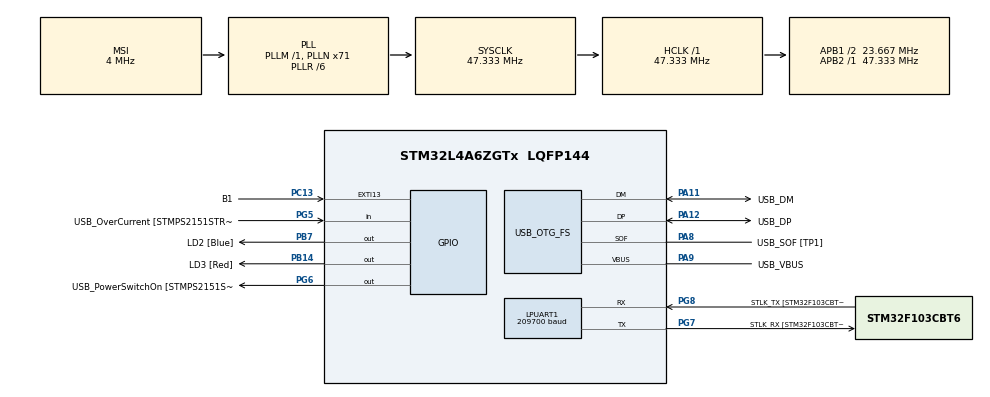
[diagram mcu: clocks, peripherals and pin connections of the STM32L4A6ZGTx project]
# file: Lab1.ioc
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FREERTOS.Tasks01=mytask,24,128,Blink_LED,Default,NULL,Dynamic,NULL,NULL
FREERTOS.configUSE_NEWLIB_REENTRANT=1
FREERTOS.configUSE_STATS_FORMATTING_FUNCTIONS=0
LPUART1.AutoBaudRateEnableParam=UART_ADVFEATURE_AUTOBAUDRATE_DISABLE
LPUART1.BaudRate=209700
LPUART1.DMADisableonRxErrorParam=UART_ADVFEATURE_DMA_ENABLEONRXERROR
LPUART1.DataInvertParam=UART_ADVFEATURE_DATAINV_DISABLE
LPUART1.MSBFirstParam=UART_ADVFEATURE_MSBFIRST_DISABLE
LPUART1.Mode=UART_MODE_TX_RX
LPUART1.OneBitSampling=UART_ONE_BIT_SAMPLE_DISABLE
LPUART1.OverrunDisableParam=UART_ADVFEATURE_OVERRUN_ENABLE
LPUART1.Parity=UART_PARITY_NONE
LPUART1.RxPinLevelInvertParam=UART_ADVFEATURE_RXINV_DISABLE
LPUART1.StopBits=UART_STOPBITS_1
LPUART1.SwapParam=UART_ADVFEATURE_SWAP_DISABLE
LPUART1.TxPinLevelInvertParam=UART_ADVFEATURE_TXINV_DISABLE
LPUART1.WordLength=UART_WORDLENGTH_7B
Mcu.Family=STM32L4
Mcu.Name=STM32L4A6ZGTx
Mcu.Package=LQFP144
NVIC.PriorityGroup=NVIC_PRIORITYGROUP_4
NVIC.TIM7_IRQn=true\:15\:0\:false\:false\:true\:false\:false\:true\:true
NVIC.TimeBase=TIM7_IRQn
NVIC.TimeBaseIP=TIM7
PA10.GPIO_Label=USB_ID
PA10.Signal=USB_OTG_FS_ID
PA11.GPIO_Label=USB_DM
PA11.Mode=Device_Only
PA11.Signal=USB_OTG_FS_DM
PA12.GPIO_Label=USB_DP
PA12.Mode=Device_Only
PA12.Signal=USB_OTG_FS_DP
PA13\ (JTMS/SWDIO).GPIO_Label=TMS
PA13\ (JTMS/SWDIO).Mode=Trace_Asynchronous_SW
PA13\ (JTMS/SWDIO).Signal=SYS_JTMS-SWDIO
PA14\ (JTCK/SWCLK).GPIO_Label=TCK
PA14\ (JTCK/SWCLK).Mode=Trace_Asynchronous_SW
PA14\ (JTCK/SWCLK).Signal=SYS_JTCK-SWCLK
PA8.GPIO_Label=USB_SOF [TP1]
PA8.Mode=Activate_SOF_FS
PA8.Signal=USB_OTG_FS_SOF
PA9.GPIO_Label=USB_VBUS
PA9.Mode=Activate_VBUS
PA9.Signal=USB_OTG_FS_VBUS
PB14.GPIO_Label=LD3 [Red]
PB14.Signal=GPIO_Output
PB3\ (JTDO/TRACESWO).GPIO_Label=SWO
PB3\ (JTDO/TRACESWO).Mode=Trace_Asynchronous_SW
PB3\ (JTDO/TRACESWO).Signal=SYS_JTDO-SWO
PB7.GPIO_Label=LD2 [Blue]
PB7.Signal=GPIO_Output
PC13.GPIO_Label=B1
PC13.Signal=GPXTI13
PC14-OSC32_IN\ (PC14).Mode=LSE-External-Oscillator
PC14-OSC32_IN\ (PC14).Signal=RCC_OSC32_IN
PC15-OSC32_OUT\ (PC15).Mode=LSE-External-Oscillator
PC15-OSC32_OUT\ (PC15).Signal=RCC_OSC32_OUT
PG5.GPIO_Label=USB_OverCurrent [STMPS2151STR_FAULT]
PG5.Signal=GPIO_Input
PG6.GPIO_Label=USB_PowerSwitchOn [STMPS2151STR_EN]
PG6.Signal=GPIO_Output
PG7.GPIO_Label=STLK_RX [STM32F103CBT6_PA3]
PG7.Mode=Asynchronous
PG7.Signal=LPUART1_TX
PG8.GPIO_Label=STLK_TX [STM32F103CBT6_PA2]
PG8.Mode=Asynchronous
PG8.Signal=LPUART1_RX
PH1-OSC_OUT\ (PH1).Signal=RCC_OSC_OUT
ProjectManager.HeapSize=0x200
ProjectManager.StackSize=0x400
ProjectManager.TargetToolchain=STM32CubeIDE
RCC.ADCFreq_Value=48000000
RCC.AHBFreq_Value=47333333.333333336
RCC.APB1CLKDivider=RCC_HCLK_DIV2
RCC.APB1Freq_Value=23666666.666666668
RCC.APB1TimFreq_Value=47333333.333333336
RCC.APB2Freq_Value=47333333.333333336
RCC.APB2TimFreq_Value=47333333.333333336
RCC.CortexFreq_Value=47333333.333333336
RCC.FLatency=FLASH_LATENCY_2
RCC.HCLKFreq_Value=47333333.333333336
RCC.HSE_VALUE=8000000
RCC.HSI48_VALUE=48000000
RCC.HSI_VALUE=16000000
RCC.MSI_VALUE=4000000
RCC.PLLN=71
RCC.PLLR=RCC_PLLR_DIV6
RCC.PLLSAI1N=24
RCC.SYSCLKFreq_VALUE=47333333.333333336
RCC.SYSCLKSource=RCC_SYSCLKSOURCE_PLLCLK
RCC.USBFreq_Value=48000000
RCC.VCOOutputFreq_Value=284000000
USB_OTG_FS.Sof_enable=ENABLE
USB_OTG_FS.VirtualMode=Device_Only
USB_OTG_FS.battery_charging_enable=ENABLE
USB_OTG_FS.low_power_enable=DISABLE
USB_OTG_FS.lpm_enable=DISABLE
USB_OTG_FS.use_dedicated_ep1=DISABLE
USB_OTG_FS.vbus_sensing_enable=ENABLE
VP_FREERTOS_VS_CMSIS_V2.Mode=CMSIS_V2
VP_SYS_VS_tim7.Mode=TIM7
board=NUCLEO-L4A6ZG

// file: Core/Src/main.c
/* USER CODE BEGIN Header */
/**
  ******************************************************************************
  * @file           : main.c
  * @brief          : Main program body
  ******************************************************************************
  * @attention
  *
  * Copyright (c) 2026 STMicroelectronics.
  * All rights reserved.
  *
  * This software is licensed under terms that can be found in the LICENSE file
  * in the root directory of this software component.
  * If no LICENSE file comes with this software, it is provided AS-IS.
  *
  ******************************************************************************
  */
/* USER CODE END Header */
#include "main.h"
#include "cmsis_os.h"

/* USER CODE BEGIN Includes */
#include "FreeRTOS.h"
#include "task.h"
#include <math.h>
/* USER CODE END Includes */

UART_HandleTypeDef hlpuart1;

PCD_HandleTypeDef hpcd_USB_OTG_FS;

/* Definitions for mytask */
osThreadId_t mytaskHandle;
const osThreadAttr_t mytask_attributes = {
  .name = "mytask",
  .stack_size = 128 * 4,
  .priority = (osPriority_t) osPriorityNormal,
};
/* USER CODE BEGIN PV */
osThreadId_t blinkTask2Handle;
osThreadId_t blinkTask3Handle;

const osThreadAttr_t blinkTask2_attr = {
    .name = "BlinkTask2",
    .stack_size = 128 * 4,
    .priority = (osPriority_t) osPriorityNormal,
};

const osThreadAttr_t blinkTask3_attr = {
    .name = "BlinkTask3",
    .stack_size = 128 * 4,
    .priority = (osPriority_t) osPriorityNormal,
};
/* USER CODE END PV */

void SystemClock_Config(void);
static void MX_GPIO_Init(void);
static void MX_LPUART1_UART_Init(void);
static void MX_USB_OTG_FS_PCD_Init(void);
void Blink_LED(void *argument);

/* USER CODE BEGIN PFP */
void BlinkTask2(void *argument);
void BlinkTask3(void *argument);
/* USER CODE END PFP */

int main(void)
{

  /* MCU Configuration--------------------------------------------------------*/

  /* Reset of all peripherals, Initializes the Flash interface and the Systick. */
  HAL_Init();

  /* Configure the system clock */
  SystemClock_Config();

  /* Initialize all configured peripherals */
  MX_GPIO_Init();
  MX_LPUART1_UART_Init();
  MX_USB_OTG_FS_PCD_Init();

  /* Init scheduler */
  osKernelInitialize();

  /* Create the thread(s) */
  /* creation of mytask */
  mytaskHandle = osThreadNew(Blink_LED, NULL, &mytask_attributes);

  /* Start scheduler */
  osKernelStart();

  /* We should never get here as control is now taken by the scheduler */

  /* Infinite loop */
  while (1)
  {

  }
}

void SystemClock_Config(void)
{
  RCC_OscInitTypeDef RCC_OscInitStruct = {0};
  RCC_ClkInitTypeDef RCC_ClkInitStruct = {0};

  /** Configure the main internal regulator output voltage
  */
  if (HAL_PWREx_ControlVoltageScaling(PWR_REGULATOR_VOLTAGE_SCALE1) != HAL_OK)
  {
    Error_Handler();
  }

  /** Configure LSE Drive Capability
  */
  HAL_PWR_EnableBkUpAccess();
  __HAL_RCC_LSEDRIVE_CONFIG(RCC_LSEDRIVE_LOW);

  /** Initializes the RCC Oscillators according to the specified parameters
  * in the RCC_OscInitTypeDef structure.
  */
  RCC_OscInitStruct.OscillatorType = RCC_OSCILLATORTYPE_LSE|RCC_OSCILLATORTYPE_MSI;
  RCC_OscInitStruct.LSEState = RCC_LSE_ON;
  RCC_OscInitStruct.MSIState = RCC_MSI_ON;
  RCC_OscInitStruct.MSICalibrationValue = 0;
  RCC_OscInitStruct.MSIClockRange = RCC_MSIRANGE_6;
  RCC_OscInitStruct.PLL.PLLState = RCC_PLL_ON;
  RCC_OscInitStruct.PLL.PLLSource = RCC_PLLSOURCE_MSI;
  RCC_OscInitStruct.PLL.PLLM = 1;
  RCC_OscInitStruct.PLL.PLLN = 71;
  RCC_OscInitStruct.PLL.PLLP = RCC_PLLP_DIV2;
  RCC_OscInitStruct.PLL.PLLQ = RCC_PLLQ_DIV2;
  RCC_OscInitStruct.PLL.PLLR = RCC_PLLR_DIV6;
  if (HAL_RCC_OscConfig(&RCC_OscInitStruct) != HAL_OK)
  {
    Error_Handler();
  }

  /** Initializes the CPU, AHB and APB buses clocks
  */
  RCC_ClkInitStruct.ClockType = RCC_CLOCKTYPE_HCLK|RCC_CLOCKTYPE_SYSCLK
                              |RCC_CLOCKTYPE_PCLK1|RCC_CLOCKTYPE_PCLK2;
  RCC_ClkInitStruct.SYSCLKSource = RCC_SYSCLKSOURCE_PLLCLK;
  RCC_ClkInitStruct.AHBCLKDivider = RCC_SYSCLK_DIV1;
  RCC_ClkInitStruct.APB1CLKDivider = RCC_HCLK_DIV2;
  RCC_ClkInitStruct.APB2CLKDivider = RCC_HCLK_DIV1;

  if (HAL_RCC_ClockConfig(&RCC_ClkInitStruct, FLASH_LATENCY_2) != HAL_OK)
  {
    Error_Handler();
  }

  /** Enable MSI Auto calibration
  */
  HAL_RCCEx_EnableMSIPLLMode();
}

static void MX_LPUART1_UART_Init(void)
{

  hlpuart1.Instance = LPUART1;
  hlpuart1.Init.BaudRate = 209700;
  hlpuart1.Init.WordLength = UART_WORDLENGTH_7B;
  hlpuart1.Init.StopBits = UART_STOPBITS_1;
  hlpuart1.Init.Parity = UART_PARITY_NONE;
  hlpuart1.Init.Mode = UART_MODE_TX_RX;
  hlpuart1.Init.HwFlowCtl = UART_HWCONTROL_NONE;
  hlpuart1.Init.OneBitSampling = UART_ONE_BIT_SAMPLE_DISABLE;
  hlpuart1.AdvancedInit.AdvFeatureInit = UART_ADVFEATURE_NO_INIT;
  if (HAL_UART_Init(&hlpuart1) != HAL_OK)
  {
    Error_Handler();
  }

}

static void MX_USB_OTG_FS_PCD_Init(void)
{

  hpcd_USB_OTG_FS.Instance = USB_OTG_FS;
  hpcd_USB_OTG_FS.Init.dev_endpoints = 6;
  hpcd_USB_OTG_FS.Init.speed = PCD_SPEED_FULL;
  hpcd_USB_OTG_FS.Init.phy_itface = PCD_PHY_EMBEDDED;
  hpcd_USB_OTG_FS.Init.Sof_enable = ENABLE;
  hpcd_USB_OTG_FS.Init.low_power_enable = DISABLE;
  hpcd_USB_OTG_FS.Init.lpm_enable = DISABLE;
  hpcd_USB_OTG_FS.Init.battery_charging_enable = ENABLE;
  hpcd_USB_OTG_FS.Init.use_dedicated_ep1 = DISABLE;
  hpcd_USB_OTG_FS.Init.vbus_sensing_enable = ENABLE;
  if (HAL_PCD_Init(&hpcd_USB_OTG_FS) != HAL_OK)
  {
    Error_Handler();
  }

}

static void MX_GPIO_Init(void)
{
  GPIO_InitTypeDef GPIO_InitStruct = {0};

  /* GPIO Ports Clock Enable */
  __HAL_RCC_GPIOC_CLK_ENABLE();
  __HAL_RCC_GPIOH_CLK_ENABLE();
  __HAL_RCC_GPIOB_CLK_ENABLE();
  __HAL_RCC_GPIOG_CLK_ENABLE();
  HAL_PWREx_EnableVddIO2();
  __HAL_RCC_GPIOA_CLK_ENABLE();

  /*Configure GPIO pin Output Level */
  HAL_GPIO_WritePin(GPIOB, LD3_Pin|LD2_Pin, GPIO_PIN_RESET);

  /*Configure GPIO pin Output Level */
  HAL_GPIO_WritePin(USB_PowerSwitchOn_GPIO_Port, USB_PowerSwitchOn_Pin, GPIO_PIN_RESET);

  /*Configure GPIO pin : B1_Pin */
  GPIO_InitStruct.Pin = B1_Pin;
  GPIO_InitStruct.Mode = GPIO_MODE_IT_RISING;
  GPIO_InitStruct.Pull = GPIO_NOPULL;
  HAL_GPIO_Init(B1_GPIO_Port, &GPIO_InitStruct);

  /*Configure GPIO pins : LD3_Pin LD2_Pin */
  GPIO_InitStruct.Pin = LD3_Pin|LD2_Pin;
  GPIO_InitStruct.Mode = GPIO_MODE_OUTPUT_PP;
  GPIO_InitStruct.Pull = GPIO_NOPULL;
  GPIO_InitStruct.Speed = GPIO_SPEED_FREQ_LOW;
  HAL_GPIO_Init(GPIOB, &GPIO_InitStruct);

  /*Configure GPIO pin : USB_OverCurrent_Pin */
  GPIO_InitStruct.Pin = USB_OverCurrent_Pin;
  GPIO_InitStruct.Mode = GPIO_MODE_INPUT;
  GPIO_InitStruct.Pull = GPIO_NOPULL;
  HAL_GPIO_Init(USB_OverCurrent_GPIO_Port, &GPIO_InitStruct);

  /*Configure GPIO pin : USB_PowerSwitchOn_Pin */
  GPIO_InitStruct.Pin = USB_PowerSwitchOn_Pin;
  GPIO_InitStruct.Mode = GPIO_MODE_OUTPUT_PP;
  GPIO_InitStruct.Pull = GPIO_NOPULL;
  GPIO_InitStruct.Speed = GPIO_SPEED_FREQ_LOW;
  HAL_GPIO_Init(USB_PowerSwitchOn_GPIO_Port, &GPIO_InitStruct);

}

/* USER CODE BEGIN 4 */
/* ========================== */
/* Task 2: Blink 30 times at a faster rate using vTaskDelay (FreeRTOS delay) */
/* ========================== */
void BlinkTask2(void *argument)
{
    for (int i = 0; i < 30; i++)
    {
        HAL_GPIO_WritePin(LD2_GPIO_Port, LD2_Pin, GPIO_PIN_SET);
        vTaskDelay(pdMS_TO_TICKS(100));   /* ON for 100 ms  -- uses FreeRTOS delay */
        HAL_GPIO_WritePin(LD2_GPIO_Port, LD2_Pin, GPIO_PIN_RESET);
        vTaskDelay(pdMS_TO_TICKS(100));   /* OFF for 100 ms -- 50% duty cycle, ~5 Hz blink */
    }

    /* Create Task 3 */
    blinkTask3Handle = osThreadNew(BlinkTask3, NULL, &blinkTask3_attr);

    /* Delete this task */
    vTaskDelete(NULL);
}

/* ========================== */
/* Task 3: Heartbeat pattern 10 times, then LED stays on forever */
/* ========================== */
void BlinkTask3(void *argument)
{
    /*
     * Sinusoidal fade: brightness follows sin(t) so the LED
     * smoothly gets brighter and dimmer in a continuous wave.
     * Implemented using software PWM by rapidly toggling the GPIO.
     */
    const uint32_t PWM_CYCLES_PER_FADE = 2000;  /* ~2 seconds per full fade cycle */

    for (int fade = 0; fade < 10; fade++)
    {
        for (uint32_t i = 0; i < PWM_CYCLES_PER_FADE; i++)
        {
            /* Sine wave from 0 to 2*pi over one fade cycle */
            float phase = (float)i / (float)PWM_CYCLES_PER_FADE * 2.0f * 3.14159265f;
            /* Shift sine up so it ranges 0..1 instead of -1..1 */
            float brightness = (sinf(phase) + 1.0f) / 2.0f;
            uint32_t duty = (uint32_t)(brightness * 100.0f);

            /* One ~1 ms PWM cycle at this duty */
            HAL_GPIO_WritePin(LD2_GPIO_Port, LD2_Pin, GPIO_PIN_SET);
            for (volatile uint32_t d = 0; d < duty * 80; d++) { __NOP(); }
            HAL_GPIO_WritePin(LD2_GPIO_Port, LD2_Pin, GPIO_PIN_RESET);
            for (volatile uint32_t d = 0; d < (100 - duty) * 80; d++) { __NOP(); }
        }
    }

    /* LED stays fully on forever */
    HAL_GPIO_WritePin(LD2_GPIO_Port, LD2_Pin, GPIO_PIN_SET);
    vTaskSuspend(NULL);
}
/* USER CODE END 4 */

void Blink_LED(void *argument)
{
  /* USER CODE BEGIN 5 */
    /* Task 1: Moderate blink rate, 30 times, using CMSIS osDelay */
    for (int i = 0; i < 30; i++)
    {
        HAL_GPIO_WritePin(LD2_GPIO_Port, LD2_Pin, GPIO_PIN_SET);
        osDelay(250);   /* ON for 250 ms  -- uses CMSIS delay (FreeRTOS-based) */
        HAL_GPIO_WritePin(LD2_GPIO_Port, LD2_Pin, GPIO_PIN_RESET);
        osDelay(250);   /* OFF for 250 ms -- 50% duty cycle, ~2 Hz blink */
    }

    /* Create Task 2 from within this task (after scheduler has started) */
    blinkTask2Handle = osThreadNew(BlinkTask2, NULL, &blinkTask2_attr);

    /* Delete this task so it never runs again */
    vTaskDelete(NULL);
  /* USER CODE END 5 */
}

void HAL_TIM_PeriodElapsedCallback(TIM_HandleTypeDef *htim)
{
  if (htim->Instance == TIM7)
  {
    HAL_IncTick();
  }
}

void Error_Handler(void)
{
  __disable_irq();
  while (1)
  {
  }
}
